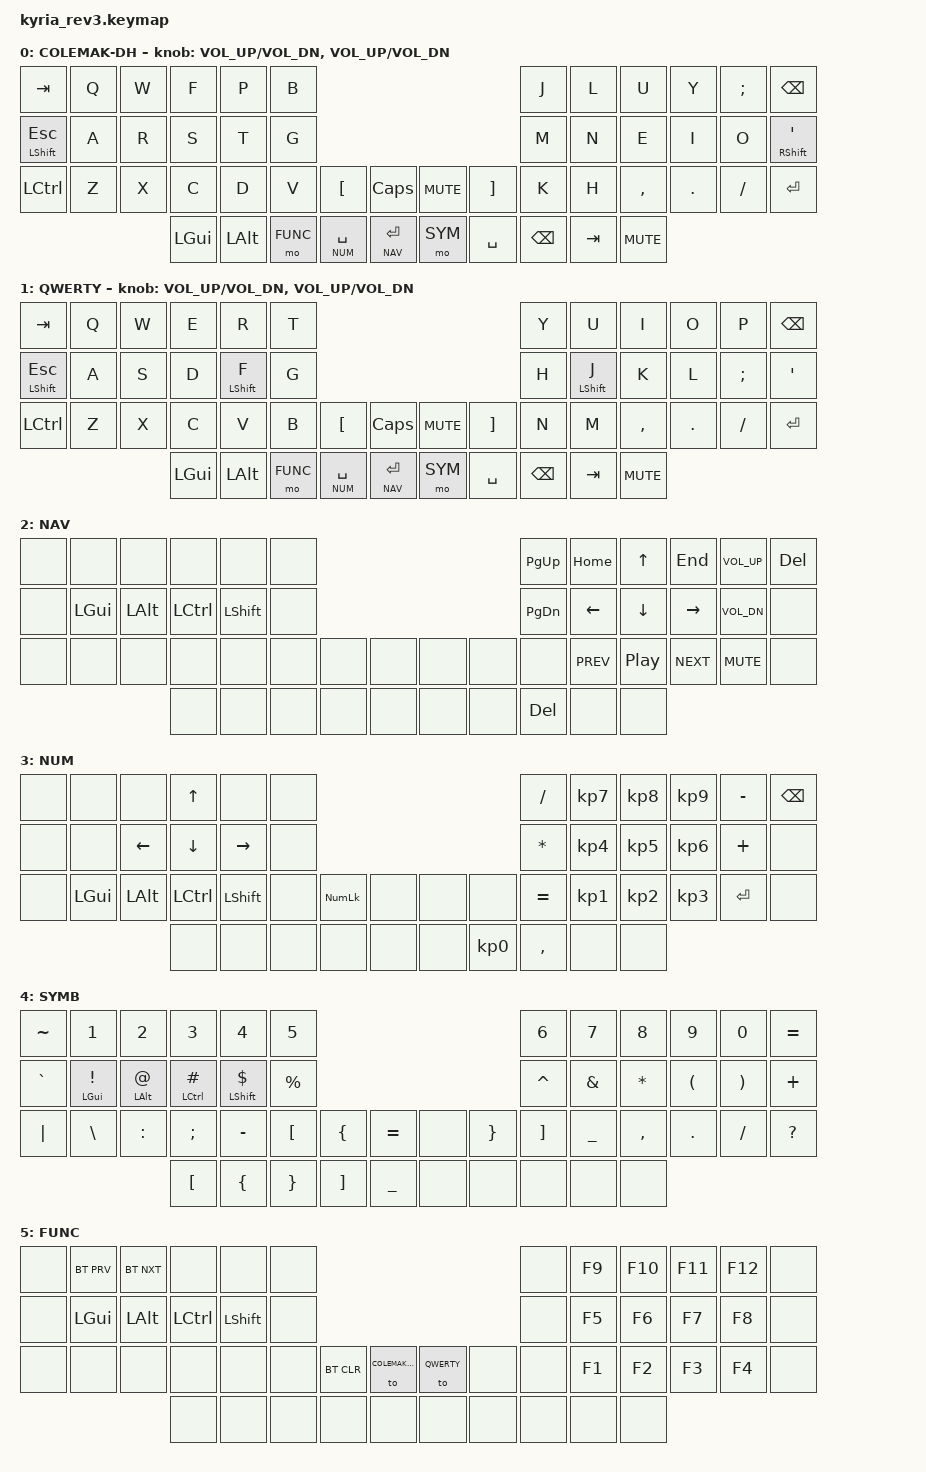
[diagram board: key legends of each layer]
/*
 * Copyright (c) 2023 The ZMK Contributors
 *
 * SPDX-License-Identifier: MIT
 */

#include <behaviors.dtsi>
#include <dt-bindings/zmk/keys.h>
#include <dt-bindings/zmk/bt.h>

// LAYERS
#define COLEMAKDH  	0
#define QWERTY   	1
#define NAV    		2
#define NUM    		3
#define SYM    		4
#define FUNC   		5

#define COMBO_TERM_FAST 14
#define COMBO_TERM_NORMAL 30
#define COMBO_TERM_SLOW 45

#define COMBO(NAME, BINDINGS, KEYPOS, LAYERS, MS) \
  combo_##NAME { \
    timeout-ms = <MS>; \
    bindings = <BINDINGS>; \
    key-positions = <KEYPOS>; \
    layers = <LAYERS>; \
  };


/ {

	combos {
		compatible = "zmk,combos";
		/*
		  KEY POSITIONS
		  ╭────────────────────────╮                 ╭────────────────────────╮
		  │ 0   1   2   3   4   5  │                 │ 6   7   8   9   10  11 │
		  │ 12  13  14  15  16  17 ╰───────╮ ╭───────╯ 18  19  20  21  22  23 │
		  │ 24  25  26  27  28  29  30  31 │ │ 32  33  34  35  36  37  38  39 │
		  ╰───────────╮ 40  41  42  43  44 │ │ 45  46  47  48  49 ╭───────────╯
					  ╰────────────────────╯ ╰────────────────────╯
		*/
		
		//Left
		COMBO(lbrc,&kp LBRC,2 3,COLEMAKDH,COMBO_TERM_NORMAL)
		COMBO(rbrc,&kp RBRC,3 4,COLEMAKDH,COMBO_TERM_NORMAL)
		COMBO(lpar,&kp LPAR,14 15,COLEMAKDH,COMBO_TERM_NORMAL)
		COMBO(rpar,&kp RPAR,15 16,COLEMAKDH,COMBO_TERM_NORMAL)
		COMBO(lbkt,&kp LBKT,26 27,COLEMAKDH,COMBO_TERM_NORMAL)
		COMBO(rbkt,&kp RBKT,27 28,COLEMAKDH,COMBO_TERM_NORMAL)
		
		//Right
		COMBO(minus,&kp MINUS,7 8,COLEMAKDH,COMBO_TERM_NORMAL)
		COMBO(under,&kp UNDER,8 9,COLEMAKDH,COMBO_TERM_NORMAL)
		COMBO(astrk,&kp ASTRK,19 20,COLEMAKDH,COMBO_TERM_NORMAL)
		COMBO(equal,&kp EQUAL,20 21,COLEMAKDH,COMBO_TERM_NORMAL)
		COMBO(less,&kp LT,35 36,COLEMAKDH,COMBO_TERM_NORMAL)
		COMBO(grtr,&kp GT,36 37,COLEMAKDH,COMBO_TERM_NORMAL)
	};

	behaviors {
        hm: homerow_mods {
            compatible = "zmk,behavior-hold-tap";
            label = "HOMEROW_MODS";
            #binding-cells = <2>;
            tapping-term-ms = <150>;
            quick-tap-ms = <0>;
            flavor = "tap-preferred";
            bindings = <&kp>, <&kp>;
        };
		
		hml: homerow_mods_left {
			compatible = "zmk,behavior-hold-tap";
			label = "HOMEROW_MODS_LEFT";
			#binding-cells = <2>;
            flavor = "balanced"; 
			tapping-term-ms = <280>; 
			quick-tap-ms = <175>; 
			global-quick-tap; 
			bindings = <&kp>, <&kp>; 
			hold-trigger-key-positions = <16>; 
			hold-trigger-on-release; 
        };
    };

    keymap {
        compatible = "zmk,keymap";

        colemak-dh_layer {
			/*
			* Base Layer: COLEMAK-DH
			*
			* ,-------------------------------------------.                               ,-------------------------------------------.
			* |  Tab   |   Q  |   W  |   F  |   P  |   B  |                               |   J  |   L  |   U  |   Y  | ;  : |  Bksp  |
			* |--------+------+------+------+------+------|                               |------+------+------+------+------+--------|
			* |LShift/ |   A  |   R  |   S  |   T  |   G  |                               |   M  |   N  |   E  |   I  |   O  |RShift/ |
			* |  Esc   |      |      |      |      |      |								  |      |      |      |      |      |  ' "   |
			* |--------+------+------+------+------+------+--------------.  ,-------------+------+------+------+------+------+--------|
			* | Ctrl   |   Z  |   X  |   C  |   D  |   V  | [ {  | CAPS  |  |VolMut|  ] } |   K  |   H  | ,  < | . >  | /  ? | Enter  |
			* `----------------------+------+------+------+------+------ |  |------+------+------+------+------+----------------------'
			*                        |      |      |      |NUM/  | Nav   |  |      |      |      |      |      |
			*                        |LGUI  | LALT | FUNC |  SP  |  RET  |  | Sym  | Space| BSPC | TAB  |VolMut|
			*                        `-----------------------------------'  `----------------------------------'
			*/
			bindings = <
				&kp TAB   	   &kp Q    &kp W   &kp F 	 &kp P 	      &kp B              	               	                 	    	   &kp J    &kp L   	&kp U     &kp Y   &kp SEMI &kp BSPC
				&hm LSHIFT ESC &kp A    &kp R   &kp S 	 &kp T 		  &kp G              	               	                 	    	   &kp M    &kp N  		&kp E     &kp I   &kp O    &hm RSHIFT APOS
				&kp LCTRL 	   &kp Z    &kp X   &kp C 	 &kp D 	      &kp V    &kp LBKT  	  &kp CAPS     	&kp C_MUTE &kp RBKT 		   &kp K    &kp H   	&kp COMMA &kp DOT &kp FSLH &kp RET
												&kp LGUI &kp LALT     &mo FUNC &lt NUM SPACE  &lt NAV RET  	&mo SYM    &kp SPACE		   &kp BSPC &kp TAB 	&kp C_MUTE
			>;
			label = "COLEMAK-DH";
			sensor-bindings = <&inc_dec_kp C_VOL_UP C_VOL_DN &inc_dec_kp C_VOL_UP C_VOL_DN>;
        };
		
		qwerty_layer {
			/*
			* Base Layer: QWERTY
			*
			* ,-------------------------------------------.                               ,-------------------------------------------.
			* |  Tab   |   Q  |   W  |   E  |   R  |   T  |                               |   Y  |   U  |   I  |   O  |   P  |  Bksp  |
			* |--------+------+------+------+------+------|                               |------+------+------+------+------+--------|
			* |LShift/ |   A  |   S  |   D  |Shift/|   G  |                               |   H  |Shift/|   K  |   L  | ;  : |  ' "   |
			* |  Esc   |      |      |      |   F  |      |								  |      |   J  |      |      |      |        |
			* |--------+------+------+------+------+------+--------------.  ,-------------+------+------+------+------+------+--------|
			* | Ctrl   |   Z  |   X  |   C  |   V  |   B  | [ {  | CAPS  |  |VolMut|  ] } |   N  |   M  | ,  < | . >  | /  ? | Enter  |
			* `----------------------+------+------+------+------+------ |  |------+------+------+------+------+----------------------'
			*						 |      |      |      |NUM/  | Nav   |  |      |      |      |      |      |
			*                        |LGUI  | LALT | FUNC |  SP  |  RET  |  | Sym  | Space| BSPC | TAB  |VolMut|
			*                        `-----------------------------------'  `----------------------------------'
			*/
			bindings = <
				&kp TAB   	   &kp Q    &kp W   &kp E 	 &kp R 	      &kp T              	               	                 	    &kp Y    &kp U   	   &kp I     &kp O   &kp P    &kp BSPC
				&hm LSHIFT ESC &kp A    &kp S   &kp D 	 &hm LSHIFT F &kp G              	               	                 	    &kp H    &hm LSHIFT J  &kp K     &kp L   &kp SEMI &kp APOS
				&kp LCTRL 	   &kp Z    &kp X   &kp C 	 &kp V 	      &kp B    &kp LBKT  	  &kp CAPS     	&kp C_MUTE &kp RBKT 	&kp N    &kp M   	   &kp COMMA &kp DOT &kp FSLH &kp RET
												&kp LGUI &kp LALT     &mo FUNC &lt NUM SPACE  &lt NAV RET  	&mo SYM    &kp SPACE    &kp BSPC &kp TAB 	   &kp C_MUTE
			>;
			label = "QWERTY";
			sensor-bindings = <&inc_dec_kp C_VOL_UP C_VOL_DN &inc_dec_kp C_VOL_UP C_VOL_DN>;
        };
		
		nav_layer {
            /*
			 * Nav Layer: Media, navigation
			 *
			 * ,-------------------------------------------.                              ,-------------------------------------------.
			 * |        |      |      |      |      |      |                              | PgUp | Home |   ↑  | End  | VolUp| Delete |
			 * |--------+------+------+------+------+------|                              |------+------+------+------+------+--------|
			 * |        |  GUI |  Alt | Ctrl | Shift|      |                              | PgDn |  ←   |   ↓  |   →  | VolDn| 		  |
			 * |--------+------+------+------+------+------+-------------.  ,-------------+------+------+------+------+------+--------|
			 * |        |      |      |      |      |      |      |      |  |      |      | 	 |M Prev|M Play|M Next|VolMut| 		  |
			 * `----------------------+------+------+------+------+------|  |------+------+------+------+------+----------------------'
			 *                        |      |      |      |      |      |  |      |      |Delete|      |      |
			 *                        |      |      |      |      |      |  |      |      |      |      |      |
			 *                        `----------------------------------'  `----------------------------------'
			 */
            bindings = <
             &none &none 	&none 	 &none 	   &none 	  &none                         	   &kp PG_UP &kp HOME   &kp UP    		 &kp END  	&kp C_VOL_UP &kp DEL
			 &none &kp LGUI &kp LALT &kp LCTRL &kp LSHIFT &none                         	   &kp PG_DN &kp LEFT   &kp DOWN   		 &kp RIGHT 	&kp C_VOL_DN &none
			 &none &none 	&none 	 &none 	   &none	  &none &none &none		 &none  &none  &none	 &kp C_PREV &kp C_PLAY_PAUSE &kp C_NEXT &kp C_MUTE 	 &none
									 &none     &none  	  &none &none &none		 &none  &none  &kp DEL	 &none  	&none
            >;
			label = "NAV"; 
        };
		
		num_layer {
			/*
			 * Num Layer: Numpad layer
			 *
			 * ,-------------------------------------------.                              ,-------------------------------------------.
			 * |        |      |      |   ↑  |      |      |                              |   /  |  7   |  8   |  9   |  -   |  Bksp  |
			 * |--------+------+------+------+------+------|                              |------+------+------+------+------+--------|
			 * |        |      |  ←   |   ↓  |   →  |      |                              |   *  |  4   |  5   |  6   |  +   |        |
			 * |--------+------+------+------+------+------+-------------.  ,-------------+------+------+------+------+------+--------|
			 * |        |  GUI |  Alt | Ctrl | Shift|      |NUMLCK|      |  |      |      |   =  |  1   |  2   |  3   | ENTER|        |
			 * `----------------------+------+------+------+------+------|  |------+------+------+------+------+----------------------'
			 *                        |      |      |      |      |      |  |      |   0  |  ,   |      |      |
			 *                        |      |      |      |      |      |  |      |      |      |      |      |
			 *                        `----------------------------------'  `----------------------------------'
			 */
			bindings = <
			  &none &none      &none     &kp UP    &none      &none                                      &kp FSLH  &kp KP_N7 &kp KP_N8 &kp KP_N9 &kp MINUS &kp BSPC 
			  &none &none 	   &kp LEFT  &kp DOWN  &kp RIGHT  &none                                      &kp ASTRK &kp KP_N4 &kp KP_N5 &kp KP_N6 &kp PLUS  &none
			  &none &kp LGUI   &kp LALT  &kp LCTRL &kp LSHIFT &none &kp KP_NUMLOCK &none 	 &none &none &kp EQUAL &kp KP_N1 &kp KP_N2 &kp KP_N3 &kp RET   &none
										&none          &none 	 &none &none &none     &none     &kp KP_N0 &kp COMMA &none     &none
			>;
			label = "NUM";
		};
		
		sym_layer {
			/*
			 * Sym Layer: Numbers and symbols
			 *
			 * ,-------------------------------------------.                              ,-------------------------------------------.
			 * |    `   |  1   |  2   |  3   |  4   |  5   |                              |   6  |  7   |  8   |  9   |  0   |   =    |
			 * |--------+------+------+------+------+------|                              |------+------+------+------+------+--------|
			 * |    ~   | GUI/!| Alt/@|Ctrl/#|Shft/$|  %   |                              |   ^  |  &   |  *   |  (   |  )   |   +    |
			 * |--------+------+------+------+------+------+-------------.  ,-------------+------+------+------+------+------+--------|
			 * |    |   |   \  |  :   |  ;   |  -   |  [   |  {   |  =   |  |      |   }  |   ]  |  _   |  ,   |  .   |  /   |   ?    |
			 * `----------------------+------+------+------+------+------|  |------+------+------+------+------+----------------------'
			 *                        |  [   |  {   |   }  |   ]  |  _   |  |      |      |      |      |      |
			 *                        |      |      |      |      |      |  |      |      |      |      |      |
			 *                        `----------------------------------'  `----------------------------------'
			 */
			bindings = <
			  &kp TILDE &kp N1   		&kp N2   	 &kp N3   		&kp N4    		 &kp N5                                 	    &kp N6    &kp N7    &kp N8    &kp N9   &kp N0   &kp EQUAL 
			  &kp GRAVE &hm LGUI EXCL 	&hm LALT AT  &hm LCTRL HASH &hm LSHIFT DLLR  &kp PRCNT                                		&kp CARET &kp AMPS  &kp ASTRK &kp LPAR &kp RPAR &kp PLUS
			  &kp PIPE  &kp BSLH 		&kp COLON 	 &kp SEMI 		&kp MINUS 		 &kp LBKT &kp LBRC &kp EQUAL	 &none &kp RBRC &kp RBKT  &kp UNDER &kp COMMA &kp DOT  &kp FSLH &kp QMARK
													 &kp LBKT 		&kp LBRC  		 &kp RBRC &kp RBKT &kp UNDER	 &none &none 	&none 	  &none 	&none
			>;
			label = "SYMB"; 
		};
		
		func_layer {
			/*
			 * Function Layer: Function keys
			 *
			 * ,-------------------------------------------.                              ,-------------------------------------------.
			 * |        |BT_PRV|BT_NXT|      |      |      |                              |      |  F9  | F10  | F11  | F12  |        |
			 * |--------+------+------+------+------+------|                              |------+------+------+------+------+--------|
			 * |        |  GUI |  Alt | Ctrl | Shift|      |                              |      |  F5  |  F6  |  F7  |  F8  |        |
			 * |--------+------+------+------+------+------+-------------.  ,-------------+------+------+------+------+------+--------|
			 * |        |      |      |      |      |      |BT_CLR|COL-DH|  |QWERTY|      |      |  F1  |  F2  |  F3  |  F4  |        |
			 * `----------------------+------+------+------+------+------|  |------+------+------+------+------+----------------------'
			 *                        |      |      |      |      |      |  |      |      |      |      |      |
			 *                        |      |      |      |      |      |  |      |      |      |      |      |
			 *                        `----------------------------------'  `----------------------------------'
			 */
			bindings = <
			  &none &bt BT_PRV &bt BT_NXT &none 	   &none      &none                           				 	 		&none  &kp F9 &kp F10 &kp F11 &kp F12 &none
			  &none &kp LGUI   &kp LALT   &kp LCTRL    &kp LSHIFT &none                           				  	 		&none  &kp F5 &kp F6  &kp F7  &kp F8  &none
			  &none &none      &none 	  &none 	   &none      &none &bt BT_CLR &to COLEMAKDH	 	  &to QWERTY &none  &none  &kp F1 &kp F2  &kp F3  &kp F4  &none
										  &none 	   &none      &none &none 	   &none	  			  &none 	 &none  &none  &none  &none
			>;
			label = "FUNC"; 
		};
		
		
	};
};
